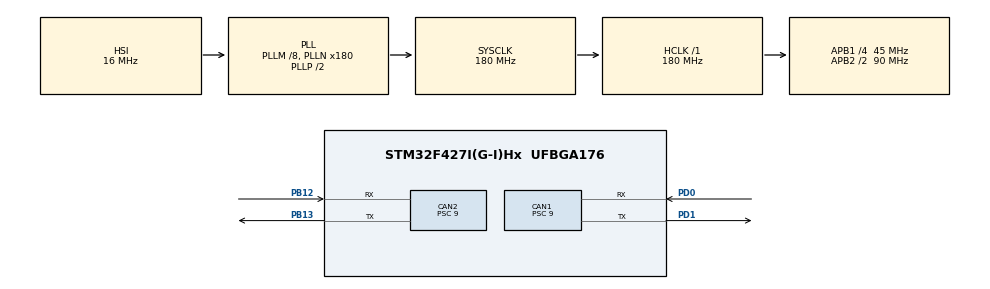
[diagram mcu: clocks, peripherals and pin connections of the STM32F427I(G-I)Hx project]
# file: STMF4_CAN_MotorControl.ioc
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CAN1.ABOM=ENABLE
CAN1.BS1=CAN_BS1_2TQ
CAN1.BS2=CAN_BS2_2TQ
CAN1.CalculateBaudRate=1000000
CAN1.CalculateTimeBit=1000
CAN1.CalculateTimeQuantum=200.0
CAN1.Prescaler=9
CAN2.ABOM=ENABLE
CAN2.BS1=CAN_BS1_2TQ
CAN2.BS2=CAN_BS2_2TQ
CAN2.CalculateBaudRate=1000000
CAN2.CalculateTimeBit=1000
CAN2.CalculateTimeQuantum=200.0
CAN2.Prescaler=9
Mcu.Family=STM32F4
Mcu.Name=STM32F427I(G-I)Hx
Mcu.Package=UFBGA176
NVIC.CAN1_RX0_IRQn=true\:0\:0\:false\:false\:true\:true\:true\:true
NVIC.CAN1_RX1_IRQn=true\:0\:0\:false\:false\:true\:true\:true\:true
NVIC.CAN2_RX0_IRQn=true\:0\:0\:false\:false\:true\:true\:true\:true
NVIC.CAN2_RX1_IRQn=true\:0\:0\:false\:false\:true\:true\:true\:true
NVIC.PriorityGroup=NVIC_PRIORITYGROUP_4
PA13.Mode=Serial_Wire
PA13.Signal=SYS_JTMS-SWDIO
PA14.Mode=Serial_Wire
PA14.Signal=SYS_JTCK-SWCLK
PB12.Mode=CAN_Activate
PB12.Signal=CAN2_RX
PB13.Mode=CAN_Activate
PB13.Signal=CAN2_TX
PD0.Mode=CAN_Activate
PD0.Signal=CAN1_RX
PD1.Mode=CAN_Activate
PD1.Signal=CAN1_TX
PH0/OSC_IN.Mode=HSE-External-Oscillator
PH0/OSC_IN.Signal=RCC_OSC_IN
PH1/OSC_OUT.Mode=HSE-External-Oscillator
PH1/OSC_OUT.Signal=RCC_OSC_OUT
ProjectManager.HeapSize=0x200
ProjectManager.StackSize=0x400
ProjectManager.TargetToolchain=CMake
RCC.48MHZClocksFreq_Value=90000000
RCC.AHBFreq_Value=180000000
RCC.APB1CLKDivider=RCC_HCLK_DIV4
RCC.APB1Freq_Value=45000000
RCC.APB1TimFreq_Value=90000000
RCC.APB2CLKDivider=RCC_HCLK_DIV2
RCC.APB2Freq_Value=90000000
RCC.APB2TimFreq_Value=180000000
RCC.CortexFreq_Value=180000000
RCC.HCLKFreq_Value=180000000
RCC.HSE_VALUE=12000000
RCC.HSI_VALUE=16000000
RCC.LSE_VALUE=32768
RCC.PLLM=8
RCC.PLLN=180
RCC.SYSCLKFreq_VALUE=180000000
RCC.SYSCLKSource=RCC_SYSCLKSOURCE_PLLCLK
RCC.VCOOutputFreq_Value=360000000
board=custom

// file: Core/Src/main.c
/* USER CODE BEGIN Header */
/**
  ******************************************************************************
  * @file           : main.c
  * @brief          : Main program body
  ******************************************************************************
  * @attention
  *
  * Copyright (c) 2026 STMicroelectronics.
  * All rights reserved.
  *
  * This software is licensed under terms that can be found in the LICENSE file
  * in the root directory of this software component.
  * If no LICENSE file comes with this software, it is provided AS-IS.
  *
  ******************************************************************************
  */
/* USER CODE END Header */
#include "main.h"
#include "can.h"
#include "gpio.h"

/* USER CODE BEGIN Includes */

#include "drv_can.h"
#include "drv_bsp.h"
#include "Callback.h"

/* USER CODE END Includes */

void SystemClock_Config(void);

int main(void)
{

  /* MCU Configuration--------------------------------------------------------*/

  /* Reset of all peripherals, Initializes the Flash interface and the Systick. */
  HAL_Init();

  /* Configure the system clock */
  SystemClock_Config();

  /* Initialize all configured peripherals */
  MX_GPIO_Init();
  MX_CAN1_Init();
  MX_CAN2_Init();
  /* USER CODE BEGIN 2 */

  int16_t torque = 0;

  CAN_Init(&hcan1);  /* 初始化CAN1 */
  CAN_Filter_Mask_Config(&hcan1, CAN_FILTER(0) | CAN_FIFO_0 | CAN_STDID | CAN_DATA_TYPE,0x201, 0x7ff);  /* 配置CAN1过滤器0 */

  /* USER CODE END 2 */

  /* Infinite loop */
  /* USER CODE BEGIN WHILE */
  while (1)
  {
    while (1)
    {
      while (torque < 1000)
      {
        torque += 50;
        CAN1_0x200_Tx_Data[0] = torque >> 8;
        CAN1_0x200_Tx_Data[1] = torque;
        CAN_Send_Data(&hcan1, 0x200, CAN1_0x200_Tx_Data, 8);
        HAL_Delay(50);
      }

      while (torque > -1000)
      {
        torque -= 50;
        CAN1_0x200_Tx_Data[0] = torque >> 8;
        CAN1_0x200_Tx_Data[1] = torque;
        CAN_Send_Data(&hcan1, 0x200, CAN1_0x200_Tx_Data, 8);
        HAL_Delay(50);
      }
    }

    /* USER CODE END WHILE */

  }
}

void SystemClock_Config(void)
{
  RCC_OscInitTypeDef RCC_OscInitStruct = {0};
  RCC_ClkInitTypeDef RCC_ClkInitStruct = {0};

  /** Configure the main internal regulator output voltage
  */
  __HAL_RCC_PWR_CLK_ENABLE();
  __HAL_PWR_VOLTAGESCALING_CONFIG(PWR_REGULATOR_VOLTAGE_SCALE1);

  /** Initializes the RCC Oscillators according to the specified parameters
  * in the RCC_OscInitTypeDef structure.
  */
  RCC_OscInitStruct.OscillatorType = RCC_OSCILLATORTYPE_HSI;
  RCC_OscInitStruct.HSIState = RCC_HSI_ON;
  RCC_OscInitStruct.HSICalibrationValue = RCC_HSICALIBRATION_DEFAULT;
  RCC_OscInitStruct.PLL.PLLState = RCC_PLL_ON;
  RCC_OscInitStruct.PLL.PLLSource = RCC_PLLSOURCE_HSI;
  RCC_OscInitStruct.PLL.PLLM = 8;
  RCC_OscInitStruct.PLL.PLLN = 180;
  RCC_OscInitStruct.PLL.PLLP = RCC_PLLP_DIV2;
  RCC_OscInitStruct.PLL.PLLQ = 4;
  if (HAL_RCC_OscConfig(&RCC_OscInitStruct) != HAL_OK)
  {
    Error_Handler();
  }

  /** Activate the Over-Drive mode
  */
  if (HAL_PWREx_EnableOverDrive() != HAL_OK)
  {
    Error_Handler();
  }

  /** Initializes the CPU, AHB and APB buses clocks
  */
  RCC_ClkInitStruct.ClockType = RCC_CLOCKTYPE_HCLK|RCC_CLOCKTYPE_SYSCLK
                              |RCC_CLOCKTYPE_PCLK1|RCC_CLOCKTYPE_PCLK2;
  RCC_ClkInitStruct.SYSCLKSource = RCC_SYSCLKSOURCE_PLLCLK;
  RCC_ClkInitStruct.AHBCLKDivider = RCC_SYSCLK_DIV1;
  RCC_ClkInitStruct.APB1CLKDivider = RCC_HCLK_DIV4;
  RCC_ClkInitStruct.APB2CLKDivider = RCC_HCLK_DIV2;

  if (HAL_RCC_ClockConfig(&RCC_ClkInitStruct, FLASH_LATENCY_5) != HAL_OK)
  {
    Error_Handler();
  }
}

void Error_Handler(void)
{
  __disable_irq();
  while (1)
  {
  }
}
